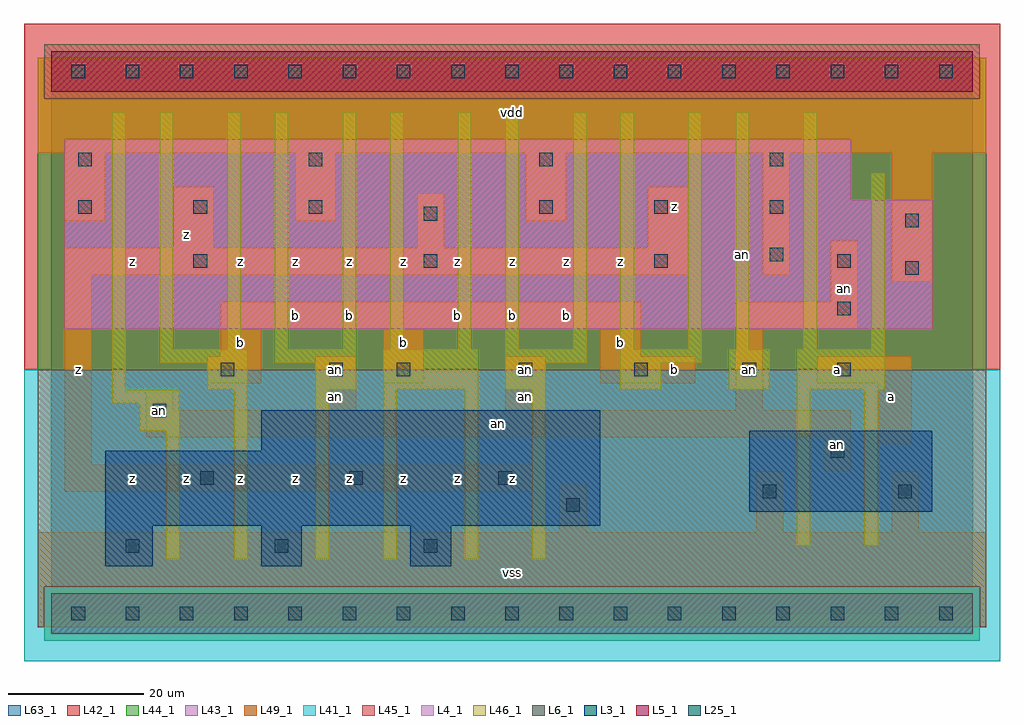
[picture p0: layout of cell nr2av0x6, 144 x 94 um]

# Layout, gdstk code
import gdstk
lib = gdstk.Library(unit=1e-6, precision=1e-09)
def R(c, l, rs):  # rectangles x0, y0, x1, y1
    for r in rs: c.add(gdstk.rectangle(r[:2], r[2:], *l))
def A(c, l, x, y, w, h, nx, ny, dx, dy):  # array of equal rectangles
    R(c, l, [(x+i*dx, y+j*dy, x+i*dx+w, y+j*dy+h) for i in range(nx) for j in range(ny)])
L3_1 = (3, 1)
L4_1 = (4, 1)
L5_1 = (5, 1)
L6_1 = (6, 1)
L25_1 = (25, 1)
L41_1 = (41, 1)
L42_1 = (42, 1)
L43_1 = (43, 1)
L44_1 = (44, 1)
L45_1 = (45, 1)
L46_1 = (46, 1)
L49_1 = (49, 1)
L63_1 = (63, 1)

nr2av0x6 = lib.new_cell('nr2av0x6')
R(nr2av0x6, L3_1, [(8,7,15,13), (31,7,37,13), (53,7,59,13), (8,13,81,24), (103,15,130,27), (31,24,81,30)])
R(nr2av0x6, L4_1, [(2,42,130,61), (2,61,118,70)])
R(nr2av0x6, L5_1, [(0,77,136,83)])
R(nr2av0x6, L6_1, [(0,-3,136,3), (0,-3,136,3)])
A(nr2av0x6, L25_1, 3, -1, 2, 2, 17, 2, 8, 80)
A(nr2av0x6, L25_1, 11, 9, 2, 2, 3, 1, 22, 0)
A(nr2av0x6, L25_1, 22, 19, 2, 2, 3, 1, 22, 0)
A(nr2av0x6, L25_1, 21, 51, 2, 2, 3, 1, 34, 0)
A(nr2av0x6, L25_1, 4, 59, 2, 2, 3, 1, 17, 0)
A(nr2av0x6, L25_1, 72, 59, 2, 2, 3, 1, 17, 0)
A(nr2av0x6, L25_1, 4, 66, 2, 2, 4, 1, 34, 0)
R(nr2av0x6, L25_1, [(76,15,78,17), (105,17,107,19), (125,17,127,19), (115,23,117,25), (15,29,17,31), (25,35,27,37), (41,35,43,37), (51,35,53,37), (69,35,71,37), (86,35,88,37), (102,35,104,37), (116,35,118,37), (116,44,118,46), (126,50,128,52), (116,51,118,53), (106,52,108,54), (126,57,128,59), (55,58,57,60)])
R(nr2av0x6, L41_1, [(-4,-7,140,36)])
R(nr2av0x6, L42_1, [(-4,36,140,87)])
R(nr2av0x6, L43_1, [(0,-3,136,3), (8,7,15,13), (31,7,37,13), (53,7,59,13), (8,13,81,24), (103,15,130,27), (31,24,81,30), (2,42,130,61), (2,61,118,70), (0,77,136,83)])
R(nr2av0x6, L44_1, [(-1,-4,137,4), (-2,36,138,76), (-2,76,-1,82), (137,76,138,82)])
R(nr2av0x6, L45_1, [(-2,-2,-1,4), (137,-2,138,4), (-2,4,138,36), (-1,76,137,84)])
R(nr2av0x6, L46_1, [(17,8,19,27), (27,8,29,33), (39,8,41,33), (49,8,51,33), (61,8,63,33), (71,8,73,33), (110,10,112,33), (120,10,122,33), (13,27,19,31), (9,31,19,33), (9,33,11,74), (23,33,29,37), (39,33,45,37), (49,33,63,39), (67,33,73,37), (84,33,90,37), (100,33,106,39), (110,33,123,39), (16,37,29,39), (33,37,45,39), (67,37,79,39), (84,37,96,39), (16,39,18,74), (26,39,28,74), (33,39,35,74), (43,39,45,74), (50,39,52,74), (60,39,62,74), (67,39,69,74), (77,39,79,74), (84,39,86,74), (94,39,96,74), (101,39,103,74), (111,39,113,74), (121,39,123,65)])
A(nr2av0x6, L49_1, 2, 58, 6, 10, 3, 1, 34, 0)
R(nr2av0x6, L49_1, [(-2,-2,138,12), (75,12,79,19), (104,12,108,21), (124,12,128,21), (2,18,71,22), (114,21,118,26), (2,22,6,50), (122,25,127,34), (14,26,118,30), (14,30,18,33), (39,30,45,38), (67,30,73,38), (101,30,105,42), (23,34,31,38), (49,34,55,42), (81,34,95,38), (113,34,127,38), (25,38,31,42), (81,38,87,42), (25,42,87,46), (101,42,119,46), (115,46,119,55), (124,49,130,68), (2,50,94,54), (105,50,109,68), (18,54,24,63), (54,54,58,62), (88,54,94,63), (-2,68,138,82)])
R(nr2av0x6, L63_1, [(0,0,136,80)])
nr2av0x6.add(gdstk.Label('an', (16,30), layer=49, texttype=1))
nr2av0x6.add(gdstk.Label('an', (42,36), layer=49, texttype=1))
nr2av0x6.add(gdstk.Label('an', (70,36), layer=49, texttype=1))
nr2av0x6.add(gdstk.Label('an', (102,53), layer=46, texttype=1))
nr2av0x6.add(gdstk.Label('z', (12,20), layer=49, texttype=1))
nr2av0x6.add(gdstk.Label('z', (20,20), layer=49, texttype=1))
nr2av0x6.add(gdstk.Label('z', (4,36), layer=49, texttype=1))
nr2av0x6.add(gdstk.Label('z', (12,52), layer=49, texttype=1))
nr2av0x6.add(gdstk.Label('z', (20,56), layer=49, texttype=1))
nr2av0x6.add(gdstk.Label('z', (28,20), layer=49, texttype=1))
nr2av0x6.add(gdstk.Label('z', (36,20), layer=49, texttype=1))
nr2av0x6.add(gdstk.Label('z', (44,20), layer=49, texttype=1))
nr2av0x6.add(gdstk.Label('an', (42,32), layer=49, texttype=1))
nr2av0x6.add(gdstk.Label('b', (28,40), layer=49, texttype=1))
nr2av0x6.add(gdstk.Label('b', (36,44), layer=49, texttype=1))
nr2av0x6.add(gdstk.Label('b', (44,44), layer=49, texttype=1))
nr2av0x6.add(gdstk.Label('z', (36,52), layer=49, texttype=1))
nr2av0x6.add(gdstk.Label('z', (44,52), layer=49, texttype=1))
nr2av0x6.add(gdstk.Label('z', (28,52), layer=49, texttype=1))
nr2av0x6.add(gdstk.Label('vss', (68,6), layer=49, texttype=1))
nr2av0x6.add(gdstk.Label('z', (52,20), layer=49, texttype=1))
nr2av0x6.add(gdstk.Label('z', (60,20), layer=49, texttype=1))
nr2av0x6.add(gdstk.Label('z', (68,20), layer=49, texttype=1))
nr2av0x6.add(gdstk.Label('an', (70,32), layer=49, texttype=1))
nr2av0x6.add(gdstk.Label('b', (52,40), layer=49, texttype=1))
nr2av0x6.add(gdstk.Label('b', (60,44), layer=49, texttype=1))
nr2av0x6.add(gdstk.Label('b', (68,44), layer=49, texttype=1))
nr2av0x6.add(gdstk.Label('b', (76,44), layer=49, texttype=1))
nr2av0x6.add(gdstk.Label('z', (60,52), layer=49, texttype=1))
nr2av0x6.add(gdstk.Label('z', (68,52), layer=49, texttype=1))
nr2av0x6.add(gdstk.Label('z', (76,52), layer=49, texttype=1))
nr2av0x6.add(gdstk.Label('z', (52,52), layer=49, texttype=1))
nr2av0x6.add(gdstk.Label('vdd', (68,74), layer=49, texttype=1))
nr2av0x6.add(gdstk.Label('an', (103,36), layer=49, texttype=1))
nr2av0x6.add(gdstk.Label('b', (84,40), layer=49, texttype=1))
nr2av0x6.add(gdstk.Label('b', (92,36), layer=49, texttype=1))
nr2av0x6.add(gdstk.Label('z', (84,52), layer=49, texttype=1))
nr2av0x6.add(gdstk.Label('z', (92,60), layer=49, texttype=1))
nr2av0x6.add(gdstk.Label('an', (66,28), layer=49, texttype=1))
nr2av0x6.add(gdstk.Label('an', (116,25), layer=49, texttype=1))
nr2av0x6.add(gdstk.Label('a', (124,32), layer=49, texttype=1))
nr2av0x6.add(gdstk.Label('a', (116,36), layer=49, texttype=1))
nr2av0x6.add(gdstk.Label('an', (117,48), layer=49, texttype=1))

lib.write_gds('nr2av0x6.gds')
